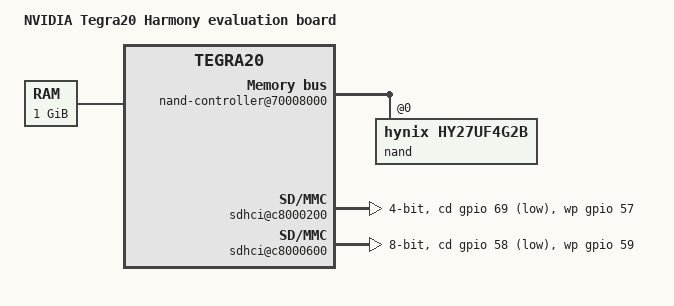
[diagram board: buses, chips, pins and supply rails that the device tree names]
/dts-v1/;

#include "tegra20.dtsi"

/ {
	model = "NVIDIA Tegra20 Harmony evaluation board";
	compatible = "nvidia,harmony", "nvidia,tegra20";

	aliases {
		usb0 = "/usb@c5008000";
		usb1 = "/usb@c5004000";
		sdhci0 = "/sdhci@c8000600";
		sdhci1 = "/sdhci@c8000200";
	};

	memory {
		reg = <0x00000000 0x40000000>;
	};

	serial@70006300 {
		clock-frequency = < 216000000 >;
	};

	nand-controller@70008000 {
		nvidia,wp-gpios = <&gpio 23 0>;		/* PC7 */
		nvidia,width = <8>;
		nvidia,timing = <26 100 20 80 20 10 12 10 70>;
		nand@0 {
			reg = <0>;
			compatible = "hynix,hy27uf4g2b", "nand-flash";
		};
	};

	i2c@7000c000 {
		status = "disabled";
	};

	i2c@7000c400 {
		status = "disabled";
	};

	i2c@7000c500 {
		status = "disabled";
	};

	i2c@7000d000 {
		status = "disabled";
	};

	usb@c5000000 {
		status = "disabled";
	};

	usb@c5004000 {
		nvidia,phy-reset-gpio = <&gpio 169 0>; /* gpio PV1 */
	};

	sdhci@c8000200 {
		status = "okay";
		cd-gpios = <&gpio 69 1>; /* gpio PI5 */
		wp-gpios = <&gpio 57 0>; /* gpio PH1 */
		power-gpios = <&gpio 155 0>; /* gpio PT3 */
		bus-width = <4>;
	};

	sdhci@c8000600 {
		status = "okay";
		cd-gpios = <&gpio 58 1>; /* gpio PH2 */
		wp-gpios = <&gpio 59 0>; /* gpio PH3 */
		power-gpios = <&gpio 70 0>; /* gpio PI6 */
		bus-width = <8>;
	};
};
